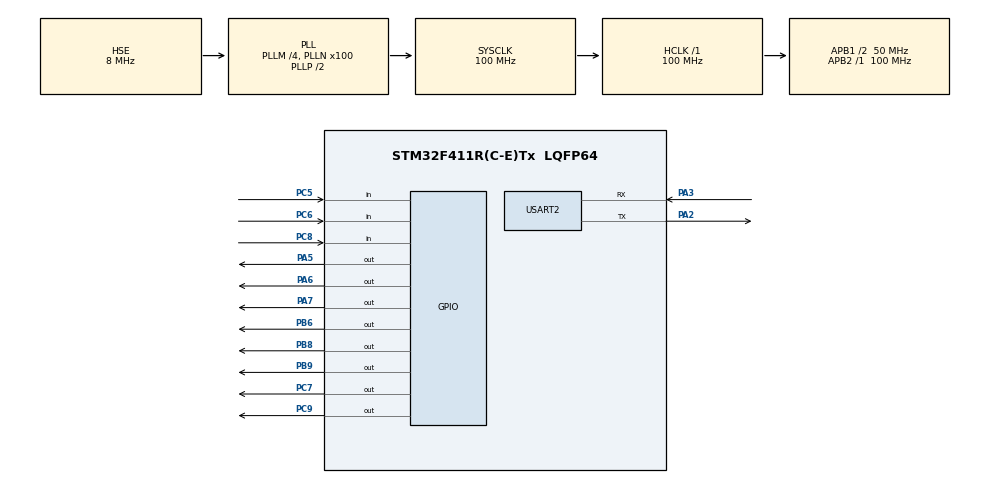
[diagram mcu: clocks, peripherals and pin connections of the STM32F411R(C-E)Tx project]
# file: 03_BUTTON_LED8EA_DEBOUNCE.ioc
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Mcu.Family=STM32F4
Mcu.Name=STM32F411R(C-E)Tx
Mcu.Package=LQFP64
NVIC.PriorityGroup=NVIC_PRIORITYGROUP_4
NVIC.USART2_IRQn=true\:0\:0\:false\:false\:true\:true\:true\:true
PA13.Mode=Serial_Wire
PA13.Signal=SYS_JTMS-SWDIO
PA14.Mode=Serial_Wire
PA14.Signal=SYS_JTCK-SWCLK
PA2.Mode=Asynchronous
PA2.Signal=USART2_TX
PA3.Mode=Asynchronous
PA3.Signal=USART2_RX
PA5.Signal=GPIO_Output
PA6.Signal=GPIO_Output
PA7.Signal=GPIO_Output
PB6.Signal=GPIO_Output
PB8.Signal=GPIO_Output
PB9.Signal=GPIO_Output
PC5.GPIO_PuPd=GPIO_PULLUP
PC5.Signal=GPIO_Input
PC6.GPIO_PuPd=GPIO_PULLUP
PC6.Signal=GPIO_Input
PC7.Signal=GPIO_Output
PC8.GPIO_PuPd=GPIO_PULLUP
PC8.Signal=GPIO_Input
PC9.Signal=GPIO_Output
PH0\ -\ OSC_IN.Mode=HSE-External-Oscillator
PH0\ -\ OSC_IN.Signal=RCC_OSC_IN
PH1\ -\ OSC_OUT.Mode=HSE-External-Oscillator
PH1\ -\ OSC_OUT.Signal=RCC_OSC_OUT
ProjectManager.HeapSize=0x200
ProjectManager.StackSize=0x400
ProjectManager.TargetToolchain=STM32CubeIDE
RCC.48MHZClocksFreq_Value=50000000
RCC.AHBFreq_Value=100000000
RCC.APB1CLKDivider=RCC_HCLK_DIV2
RCC.APB1Freq_Value=50000000
RCC.APB1TimFreq_Value=100000000
RCC.APB2Freq_Value=100000000
RCC.APB2TimFreq_Value=100000000
RCC.CortexFreq_Value=100000000
RCC.HCLKFreq_Value=100000000
RCC.HSE_VALUE=8000000
RCC.HSI_VALUE=16000000
RCC.LSE_VALUE=32768
RCC.PLLM=4
RCC.PLLN=100
RCC.PLLSourceVirtual=RCC_PLLSOURCE_HSE
RCC.SYSCLKFreq_VALUE=100000000
RCC.SYSCLKSource=RCC_SYSCLKSOURCE_PLLCLK
RCC.VCOOutputFreq_Value=200000000
USART2.VirtualMode=VM_ASYNC
board=custom

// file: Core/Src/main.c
/* USER CODE BEGIN Header */
/**
  ******************************************************************************
  * @file           : main.c
  * @brief          : Main program body
  ******************************************************************************
  * @attention
  *
  * Copyright (c) 2025 STMicroelectronics.
  * All rights reserved.
  *
  * This software is licensed under terms that can be found in the LICENSE file
  * in the root directory of this software component.
  * If no LICENSE file comes with this software, it is provided AS-IS.
  *
  ******************************************************************************
  */
/* USER CODE END Header */
#include "main.h"
#include "usart.h"
#include "gpio.h"

/* USER CODE BEGIN Includes */
#include "led.h"
/* USER CODE END Includes */

/* USER CODE BEGIN PD */
#define DEBOUNCE_DELAY		50		// Debounce Delay 50ms 위한 선언
/* USER CODE END PD */

void SystemClock_Config(void);
/* USER CODE BEGIN PFP */
uint32_t millis() {		// 32-bit 형 양의 정수 Data 반환
	return HAL_GetTick();
}
/* USER CODE END PFP */

int main(void)
{

  /* MCU Configuration--------------------------------------------------------*/

  /* Reset of all peripherals, Initializes the Flash interface and the Systick. */
  HAL_Init();

  /* Configure the system clock */
  SystemClock_Config();

  /* Initialize all configured peripherals */
  MX_GPIO_Init();
  MX_USART2_UART_Init();
  /* USER CODE BEGIN 2 */
  uint32_t lastDebounceTime = 0;					// 지역변수라 초기화 해야 함, 메인 함수 내의 지역변수

  // 처음 상태 기본값, Pull-Up 저항이기 때문에 High 로 시작
  GPIO_PinState lastButtonState = GPIO_PIN_SET;		// 마지막 Button 상태
  /* USER CODE END 2 */

  /* Infinite loop */
  /* USER CODE BEGIN WHILE */
  while (1)
  {
	  // 현재 Button 상태를 currentButtonState 에 저장, 눌렀으면 Low, 안눌렀으면 High
	  GPIO_PinState currentButtonState = HAL_GPIO_ReadPin(GPIOC, GPIO_PIN_8);

	  // Button 상태가 변했는지 확인, 상태가 변했다는건 Button 눌렸다는 의미
	  if (currentButtonState != lastButtonState) {
		  // Debounce 시간까지 잠깐 대기, 상태가 변해서 유지하는 시간이 50ms 지났는지 확인
		  if(millis() - lastDebounceTime > DEBOUNCE_DELAY) {
			  // Button 상태가 변한 상황, 현재 눌린 상태면 Low
			  if(currentButtonState == GPIO_PIN_RESET) {
				  // Button 눌렸을때 실행할 Code 입력
				  ledOn(8);
			  }
			  // Button 상태가 변한 상황, 현재 안눌린 상태면 High
			  else {
				  // Button 안눌렸을때 실행한 Code 입력
				  ledOff(8);
			  }
			  lastDebounceTime = millis();		// 초기화
		  }
	  }

	  lastButtonState = currentButtonState;

    /* USER CODE END WHILE */

  }
}

void SystemClock_Config(void)
{
  RCC_OscInitTypeDef RCC_OscInitStruct = {0};
  RCC_ClkInitTypeDef RCC_ClkInitStruct = {0};

  /** Configure the main internal regulator output voltage
  */
  __HAL_RCC_PWR_CLK_ENABLE();
  __HAL_PWR_VOLTAGESCALING_CONFIG(PWR_REGULATOR_VOLTAGE_SCALE1);

  /** Initializes the RCC Oscillators according to the specified parameters
  * in the RCC_OscInitTypeDef structure.
  */
  RCC_OscInitStruct.OscillatorType = RCC_OSCILLATORTYPE_HSE;
  RCC_OscInitStruct.HSEState = RCC_HSE_ON;
  RCC_OscInitStruct.PLL.PLLState = RCC_PLL_ON;
  RCC_OscInitStruct.PLL.PLLSource = RCC_PLLSOURCE_HSE;
  RCC_OscInitStruct.PLL.PLLM = 4;
  RCC_OscInitStruct.PLL.PLLN = 100;
  RCC_OscInitStruct.PLL.PLLP = RCC_PLLP_DIV2;
  RCC_OscInitStruct.PLL.PLLQ = 4;
  if (HAL_RCC_OscConfig(&RCC_OscInitStruct) != HAL_OK)
  {
    Error_Handler();
  }

  /** Initializes the CPU, AHB and APB buses clocks
  */
  RCC_ClkInitStruct.ClockType = RCC_CLOCKTYPE_HCLK|RCC_CLOCKTYPE_SYSCLK
                              |RCC_CLOCKTYPE_PCLK1|RCC_CLOCKTYPE_PCLK2;
  RCC_ClkInitStruct.SYSCLKSource = RCC_SYSCLKSOURCE_PLLCLK;
  RCC_ClkInitStruct.AHBCLKDivider = RCC_SYSCLK_DIV1;
  RCC_ClkInitStruct.APB1CLKDivider = RCC_HCLK_DIV2;
  RCC_ClkInitStruct.APB2CLKDivider = RCC_HCLK_DIV1;

  if (HAL_RCC_ClockConfig(&RCC_ClkInitStruct, FLASH_LATENCY_3) != HAL_OK)
  {
    Error_Handler();
  }
}

void Error_Handler(void)
{
  __disable_irq();
  while (1)
  {
  }
}
